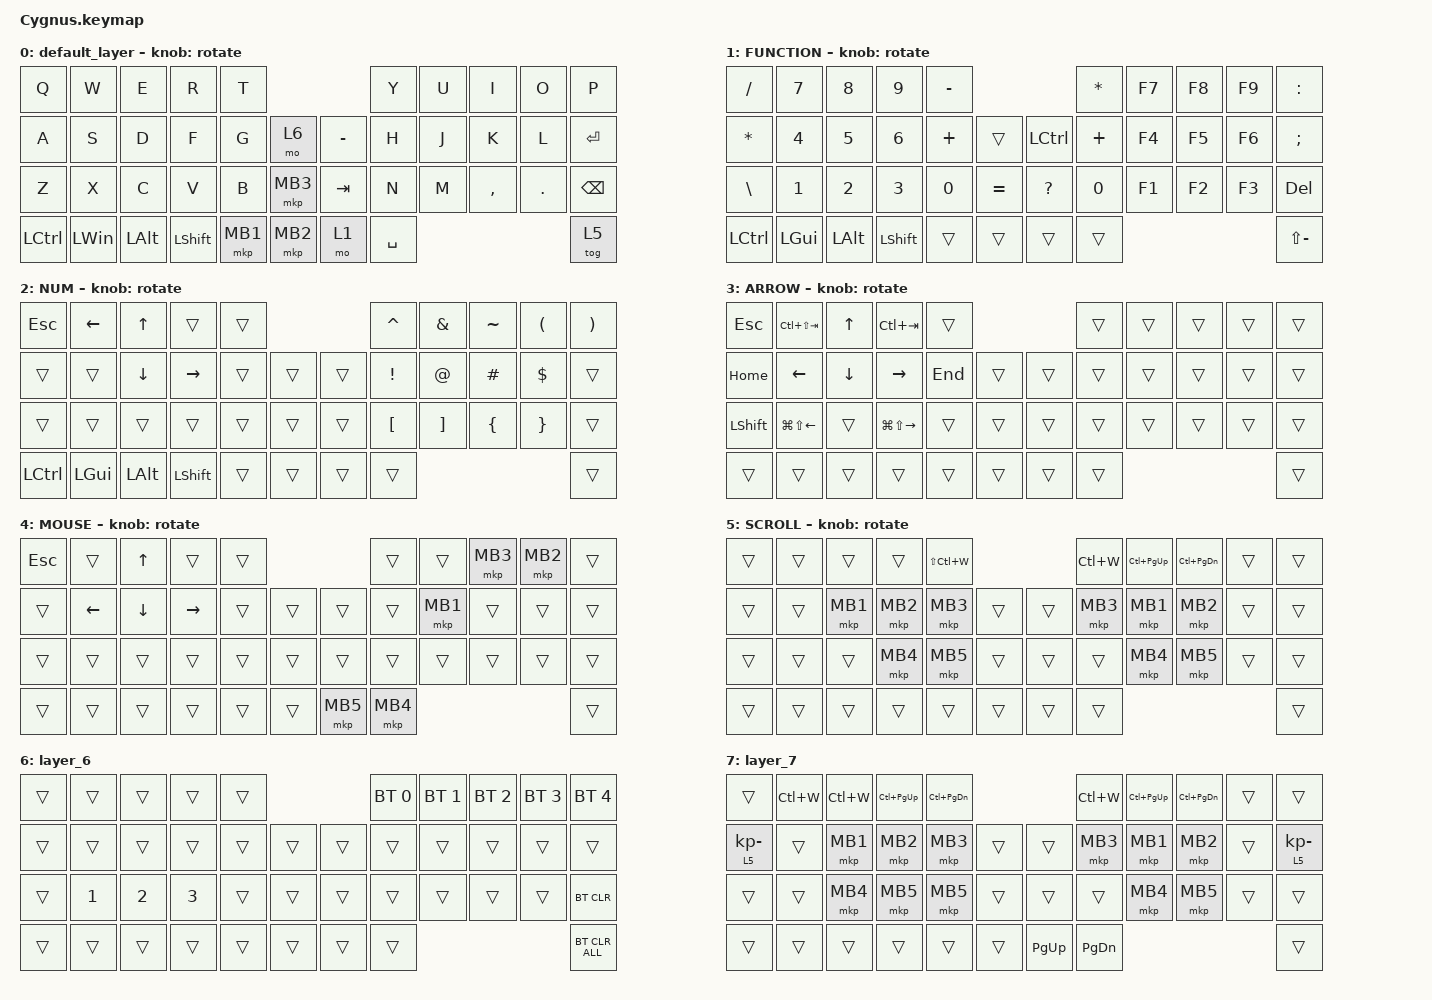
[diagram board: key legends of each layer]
#include <behaviors.dtsi>
#include <dt-bindings/zmk/bt.h>
#include <dt-bindings/zmk/keys.h>
#include <dt-bindings/zmk/pointing.h>

#define ZMK_MOUSE_DEFAULT_SCRL_VAL 25
#define MOUSE 4
#define SCROLL 5
#define NUM 6

&mt {
    flavor = "balanced";
    quick-tap-ms = <0>;
};

/ {
    combos {
        compatible = "zmk,combos";

        double_quotation {
            bindings = <&kp DOUBLE_QUOTES>;
            key-positions = <20 21>;
        };
    };

    macros {
        to_layer_0: to_layer_0 {
            compatible = "zmk,behavior-macro-one-param";
            #binding-cells = <1>;
            bindings = <&to 0 &macro_param_1to1 &kp MACRO_PLACEHOLDER>;
            label = "TO_LAYER_0";
        };
    };

    behaviors {
        lt_to_layer_0: lt_to_layer_0 {
            compatible = "zmk,behavior-hold-tap";
            label = "LAYER_TAP_TO_0";
            bindings = <&mo>, <&to_layer_0>;

            #binding-cells = <2>;
            tapping-term-ms = <200>;
        };

        rotate: rotate {
            compatible = "zmk,behavior-sensor-rotate";
            label = "ROTATE";
            #sensor-binding-cells = <0>;
            bindings = <&msc SCRL_UP>, <&msc SCRL_DOWN>;

            tap-ms = <20>;
        };
    };

    keymap {
        compatible = "zmk,keymap";

        default_layer {
            bindings = <
&kp Q      &kp W         &kp E         &kp R       &kp T                              &kp Y      &kp U  &kp I      &kp O       &kp P
&kp A      &kp S         &kp D         &kp F       &kp G     &mo 6         &kp MINUS  &kp H      &kp J  &kp K      &kp L       &kp ENTER
&kp Z      &kp X         &kp C         &kp V       &kp B     &mkp MB3      &kp TAB    &kp N      &kp M  &kp COMMA  &kp PERIOD  &kp BACKSPACE
&kp LCTRL  &kp LEFT_WIN  &kp LEFT_ALT  &kp LSHIFT  &mkp MB1  &mkp MB2      &mo 1      &kp SPACE                                &tog 5
            >;

            sensor-bindings = <&rotate>;
        };

        FUNCTION {
            bindings = <
&kp SLASH      &kp N7        &kp N8        &kp N9          &kp MINUS                                   &kp ASTERISK  &kp F7  &kp F8  &kp F9  &kp COLON
&kp ASTERISK   &kp N4        &kp N5        &kp N6          &kp PLUS   &trans         &kp LEFT_CONTROL  &kp PLUS      &kp F4  &kp F5  &kp F6  &kp SEMICOLON
&kp BACKSLASH  &kp N1        &kp N2        &kp N3          &kp N0     &kp EQUAL      &kp QUESTION      &kp N0        &kp F1  &kp F2  &kp F3  &kp DEL
&kp LCTRL      &kp LEFT_GUI  &kp LEFT_ALT  &kp LEFT_SHIFT  &trans     &trans         &trans            &trans                                &kp LS(MINUS)
            >;

            sensor-bindings = <&rotate>;
        };

        NUM {
            bindings = <
&kp ESCAPE  &kp LEFT_ARROW  &kp UP_ARROW  &trans          &trans                      &kp CARET         &kp AMPERSAND      &kp TILDE       &kp LEFT_PARENTHESIS  &kp RIGHT_PARENTHESIS
&trans      &trans          &kp DOWN      &kp RIGHT       &trans  &trans      &trans  &kp EXCLAMATION   &kp AT_SIGN        &kp HASH        &kp DOLLAR            &trans
&trans      &trans          &trans        &trans          &trans  &trans      &trans  &kp LEFT_BRACKET  &kp RIGHT_BRACKET  &kp LEFT_BRACE  &kp RIGHT_BRACE       &trans
&kp LCTRL   &kp LEFT_GUI    &kp LEFT_ALT  &kp LEFT_SHIFT  &trans  &trans      &trans  &trans                                                                     &trans
            >;

            sensor-bindings = <&rotate>;
        };

        ARROW {
            bindings = <
&kp ESCAPE      &kp LC(LS(TAB))         &kp UP_ARROW    &kp LC(TAB)              &trans                       &trans  &trans  &trans  &trans  &trans
&kp HOME        &kp LEFT_ARROW          &kp DOWN_ARROW  &kp RIGHT_ARROW          &kp END  &trans      &trans  &trans  &trans  &trans  &trans  &trans
&kp LEFT_SHIFT  &kp LG(LS(LEFT_ARROW))  &trans          &kp LG(LS(RIGHT_ARROW))  &trans   &trans      &trans  &trans  &trans  &trans  &trans  &trans
&trans          &trans                  &trans          &trans                   &trans   &trans      &trans  &trans                          &trans
            >;

            sensor-bindings = <&rotate>;
        };

        MOUSE {
            bindings = <
&kp ESCAPE  &trans          &kp UP_ARROW  &trans     &trans                        &trans    &trans    &mkp MB3  &mkp MB2  &trans
&trans      &kp LEFT_ARROW  &kp DOWN      &kp RIGHT  &trans  &trans      &trans    &trans    &mkp MB1  &trans    &trans    &trans
&trans      &trans          &trans        &trans     &trans  &trans      &trans    &trans    &trans    &trans    &trans    &trans
&trans      &trans          &trans        &trans     &trans  &trans      &mkp MB5  &mkp MB4                                &trans
            >;

            sensor-bindings = <&rotate>;
        };

        SCROLL {
            bindings = <
&trans  &trans  &trans    &trans    &kp LS(LC(W))                      &kp LC(W)  &kp LC(PAGE_UP)  &kp LC(PAGE_DOWN)  &trans  &trans
&trans  &trans  &mkp MB1  &mkp MB2  &mkp MB3       &trans      &trans  &mkp MB3   &mkp MB1         &mkp MB2           &trans  &trans
&trans  &trans  &trans    &mkp MB4  &mkp MB5       &trans      &trans  &trans     &mkp MB4         &mkp MB5           &trans  &trans
&trans  &trans  &trans    &trans    &trans         &trans      &trans  &trans                                                 &trans
            >;

            sensor-bindings = <&rotate>;
        };

        layer_6 {
            bindings = <
&trans  &trans        &trans        &trans        &trans                      &bt BT_SEL 0  &bt BT_SEL 1  &bt BT_SEL 2  &bt BT_SEL 3  &bt BT_SEL 4
&trans  &trans        &trans        &trans        &trans  &trans      &trans  &trans        &trans        &trans        &trans        &trans
&trans  &kp NUMBER_1  &kp NUMBER_2  &kp NUMBER_3  &trans  &trans      &trans  &trans        &trans        &trans        &trans        &bt BT_CLR
&trans  &trans        &trans        &trans        &trans  &trans      &trans  &trans                                                  &bt BT_CLR_ALL
            >;
        };

        layer_7 {
            bindings = <
&trans                     &kp LC(W)  &kp LC(W)  &kp LC(PAGE_UP)  &kp LC(PAGE_DOWN)                           &kp LC(W)      &kp LC(PAGE_UP)  &kp LC(PAGE_DOWN)  &trans  &trans
&lt_to_layer_0 5 KP_MINUS  &trans     &mkp MB1   &mkp MB2         &mkp MB3           &trans      &trans       &mkp MB3       &mkp MB1         &mkp MB2           &trans  &lt_to_layer_0 5 KP_MINUS
&trans                     &trans     &mkp MB4   &mkp MB5         &mkp MB5           &trans      &trans       &trans         &mkp MB4         &mkp MB5           &trans  &trans
&trans                     &trans     &trans     &trans           &trans             &trans      &kp PAGE_UP  &kp PAGE_DOWN                                              &trans
            >;
        };
    };
};
